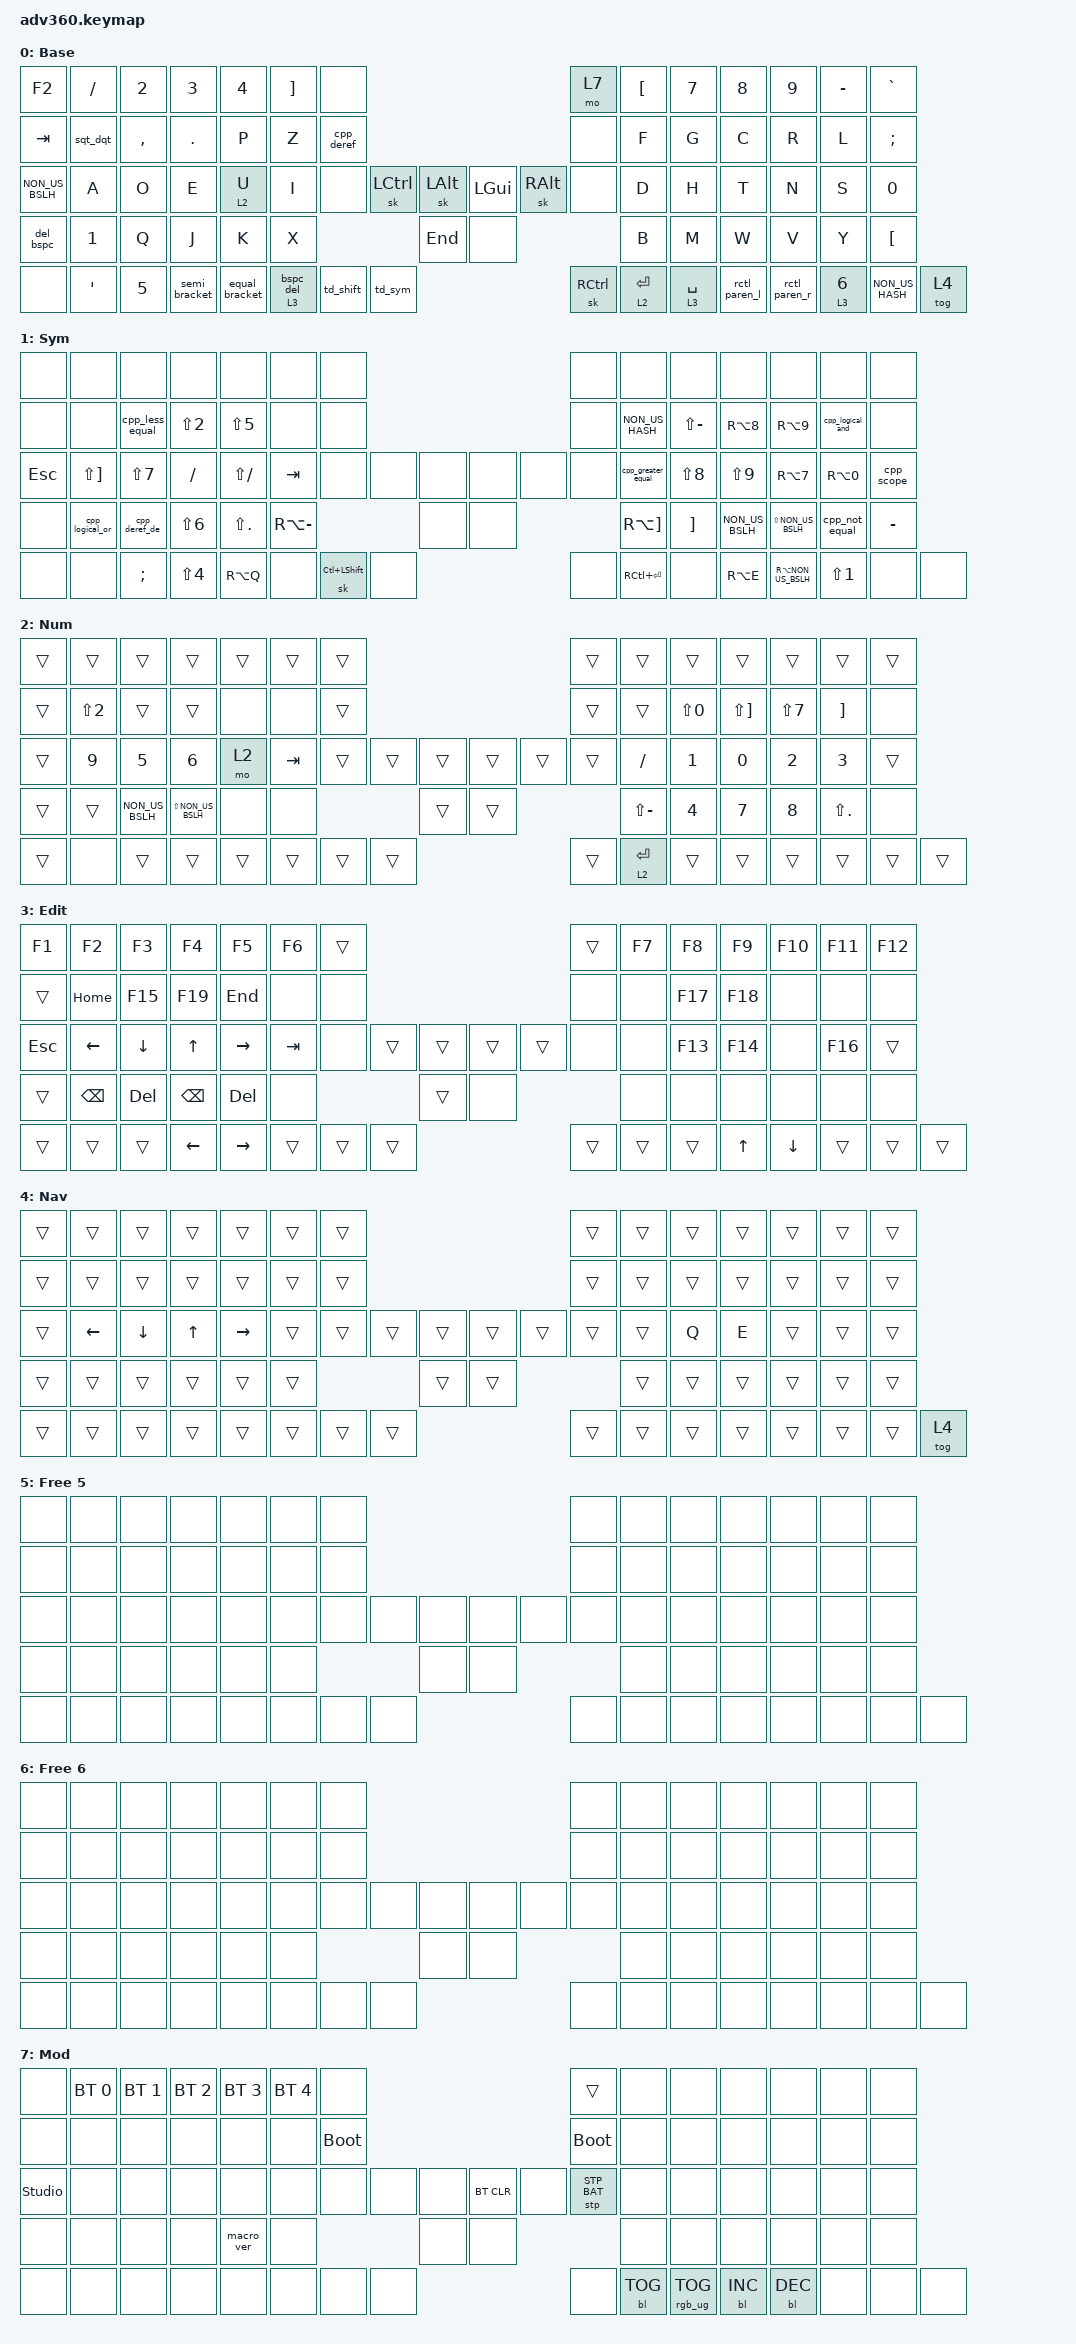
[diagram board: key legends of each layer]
#include <behaviors.dtsi>
#include <dt-bindings/zmk/keys.h>
#include <dt-bindings/zmk/bt.h>
#include <dt-bindings/zmk/rgb.h>
#include <dt-bindings/zmk/stp.h>
#include <dt-bindings/zmk/backlight.h>
#include <dt-bindings/zmk/pointing.h>

/* =============================================================================
   COMPLETE GERMAN WINDOWS TRANSLATION ALIASES
   Erase "#include <locale/keys_de.h>" and use these exact labels anywhere!
   ============================================================================= */
#define DE_A            A
#define DE_B            B
#define DE_C            C
#define DE_D            D
#define DE_E            E
#define DE_F            F
#define DE_G            G
#define DE_H            H
#define DE_I            I
#define DE_J            J
#define DE_K            K
#define DE_L            L
#define DE_M            M
#define DE_N            N
#define DE_O            O
#define DE_P            P
#define DE_Q            Q
#define DE_R            R
#define DE_S            S
#define DE_T            T
#define DE_U            U
#define DE_V            V
#define DE_W            W
#define DE_X            X
#define DE_Y            Z              /* Correctly swaps Y and Z physical positions */
#define DE_Z            Y              /* Correctly swaps Z and Y physical positions */

#define DE_1            N1
#define DE_2            N2
#define DE_3            N3
#define DE_4            N4
#define DE_5            N5
#define DE_6            N6
#define DE_7            N7
#define DE_8            N8
#define DE_9            N9
#define DE_0            N0

#define DE_A_UMLAUT     SQT            /* ä */
#define DE_O_UMLAUT     SEMI           /* ö */
#define DE_U_UMLAUT     LBKT           /* ü */
#define DE_SHARP_S      MINUS          /* ß */

#define DE_MINUS        SLASH          /* - */
#define DE_PLUS         RBKT           /* + */
#define DE_EQUAL        LS(N0)         /* = */
#define DE_UNDERSCORE   LS(SLASH)      /* _ */

#define DE_LESS_THAN    NON_US_BSLH    /* < */
#define DE_GREATER_THAN LS(NON_US_BSLH) /* > */
#define DE_PIPE         RA(NON_US_BSLH) /* | */

#define DE_EXCLAMATION  LS(N1)         /* ! */
#define DE_DOUBLE_QUOTES LS(N2)        /* " */
#define DE_SECTION      LS(N3)         /* § */
#define DE_DOLLAR       LS(N4)         /* $ */
#define DE_PERCENT      LS(N5)         /* % */
#define DE_AMPERSAND    LS(N6)         /* & */
#define DE_SLASH        LS(N7)         /* / */
#define DE_QUESTION     LS(MINUS)      /* ? */
#define DE_BACKSLASH    RA(MINUS)      /* \ */

#define DE_LEFT_PARENTHESIS  LS(N8)    /* ( */
#define DE_RIGHT_PARENTHESIS LS(N9)    /* ) */
#define DE_LEFT_BRACKET      RA(N8)    /* [ */
#define DE_RIGHT_BRACKET     RA(N9)    /* ] */
#define DE_LEFT_BRACE        RA(N7)    /* { */
#define DE_RIGHT_BRACE       RA(N0)    /* } */

#define DE_PERIOD       DOT            /* . */
#define DE_COMMA        COMMA          /* , */
#define DE_COLON        LS(DOT)        /* : */
#define DE_SEMICOLON    LS(COMMA)      /* ; */
#define DE_HASH         NON_US_HASH    /* # */
#define DE_SINGLE_QUOTE LS(NON_US_HASH) /* ' */
#define DE_ASTERISK     LS(RBKT)       /* * */

#define DE_AT           RA(Q)          /* @ */
#define DE_EURO         RA(E)          /* € */
#define DE_TILDE        RA(RBKT)       /* ~ */
#define DE_GRAVE        LS(EQUAL)      /* ` (Dead Key) */
#define DE_ACUTE        EQUAL          /* ´ (Dead Key) */
#define DE_CARET        GRAVE          /* ^ (Dead Key) */
#define DE_DEGREE       LS(GRAVE)      /* ° */
/* ============================================================================= */


/* 
================================================================================
  MASTER GERMAN ZMK LOCALE REFERENCE CHEAT SHEET
  Requires: #include <locale/keys_de.h> at the top of your keymap file.
================================================================================
  Symbol/Char      | ZMK German Keycode | Description / Shortcut Used
-------------------|--------------------|---------------------------------------
  ALPHABET (QWERTZ)
  A to Y (except Z)| &kp DE_A ... DE_Y  | Follows standard physical keys
  Z (Swapped)      | &kp DE_Z           | Maps to physical Y position
  Y (Swapped)      | &kp DE_Y           | Maps to physical Z position
  
  GERMAN SPECIALS
  ä (Umlaut)       | &kp DE_A_UMLAUT    | Base key
  ö (Umlaut)       | &kp DE_O_UMLAUT    | Base key
  ü (Umlaut)       | &kp DE_U_UMLAUT    | Base key
  ß (Eszett)       | &kp DE_SHARP_S     | Base key
  § (Section)      | &kp DE_SECTION     | Shift + 3
  ° (Degree)       | &kp DE_DEGREE      | Shift + ^

  STANDARD PUNCTUATION & SYMBOLS
  . (Period)       | &kp DE_PERIOD      | Base key
  , (Comma)        | &kp DE_COMMA       | Base key
  - (Minus / Dash) | &kp DE_MINUS       | Base key
  _ (Underscore)   | &kp DE_UNDERSCORE  | Shift + Minus
  + (Plus)         | &kp DE_PLUS        | Base key
  # (Hash)         | &kp DE_HASH        | Base key
  ' (Single Quote) | &kp DE_SINGLE_QUOTE| Shift + #
  * (Asterisk)     | &kp DE_ASTERISK    | Shift + +
  ~ (Tilde)        | &kp DE_TILDE       | AltGr + +
  ^ (Caret)        | &kp DE_CARET       | Base key (Dead key on OS)

  PROGRAMMING OPERATORS
  = (Equals)       | &kp DE_EQUAL       | Shift + 0
  ! (Exclamation)  | &kp DE_EXCLAMATION | Shift + 1
  ? (Question Mark)| &kp DE_QUESTION    | Shift + ß
  / (Forward Slash)| &kp DE_SLASH       | Shift + 7
  \ (Backslash)    | &kp DE_BACKSLASH   | AltGr + ß

  | (Pipe)         | &kp DE_PIPE        | AltGr + <
  : (Colon)        | &kp DE_COLON       | Shift + Period
  ; (Semicolon)    | &kp DE_SEMICOLON   | Shift + Comma

  BRACKETS & ENCLOSURES
  ( (Left Paren)   | &kp DE_LEFT_PARENTHESIS | Shift + 8
  ) (Right Paren)  | &kp DE_RIGHT_PARENTHESIS| Shift + 9
  [ (Left Bracket) | &kp DE_LEFT_BRACKET     | AltGr + 8
  ] (Right Bracket)| &kp DE_RIGHT_BRACKET    | AltGr + 9
  { (Left Brace)   | &kp DE_LEFT_BRACE       | AltGr + 7
  } (Right Brace)  | &kp DE_RIGHT_BRACE      | AltGr + 0
  < (Less Than)    | &kp DE_LESS_THAN        | Base key
  > (Greater Than) | &kp DE_GREATER_THAN     | Shift + <

  COMMON INTERNET & CURRENCY SYMBOLS
  @ (At Sign)      | &kp DE_AT          | AltGr + Q
  € (Euro)         | &kp DE_EURO        | AltGr + E
  $ (Dollar)       | &kp DE_DOLLAR      | Shift + 4
  % (Percent)      | &kp DE_PERCENT     | Shift + 5
  & (Ampersand)    | &kp DE_AMPERSAND   | Shift + 6
  " (Double Quote) | &kp DE_DOUBLE_QUOTES| Shift + 2
  ` (Backtick)     | &kp DE_GRAVE       | Shift + ´ (Dead key on OS)
  ´ (Acute Accent) | &kp DE_ACUTE       | Base key (Dead key on OS)
================================================================================
*/

/* 
================================================================================
  ZMK SYSTEM, CORE BEHAVIORS, & CONTROLS REFERENCE CHEAT SHEET
  This table lists standard ZMK actions, layers, media, and hardware keys.
================================================================================
  ZMK Identifier        | Description / Action
------------------------|-------------------------------------------------------
  CORE CORE ACTIONS
  &none                 | Null key. Disables the key completely (does nothing).
  &trans                | Transparent. Falls through to the layer below.

  HARDWARE & SYSTEM CONTROLS
  &bootloader           | Puts module into USB mass storage flash mode.
  &sys_reset            | Reboots the microcontroller immediately.
  &macro_ver            | Outputs the current firmware version string.

  BLUETOOTH CONTROLS
  &bt BT_CLR            | Clears the Bluetooth pairing bond on the active profile.
  &bt BT_CLR_ALL        | Clears ALL Bluetooth profiles saved on the keyboard.
  &bt BT_SEL 0          | Selects Bluetooth Profile 0.
  &bt BT_SEL 1          | Selects Bluetooth Profile 1.
  &bt BT_SEL 2          | Selects Bluetooth Profile 2.
  &bt BT_SEL 3          | Selects Bluetooth Profile 3.
  &bt BT_SEL 4          | Selects Bluetooth Profile 4.
  &bt BT_PRV            | Switches to the previous Bluetooth profile slot.
  &bt BT_NXT            | Switches to the next Bluetooth profile slot.

  LAYER NAVIGATION CONTROLS
  &mo 1                 | Momentary Layer: Activates Layer 1 only while held.
  &to 1                 | Toggle Layer: Permanently switches to Layer 1.
  &sl 1                 | Sticky Layer: Activates Layer 1 for the next single keypress.
  &tg 1                 | Toggle Layer Switch: Press to turn on, press to turn off.

  FUNCTION KEYS
  &kp F1 ... &kp F12    | Standard Function Keys F1 through F12.
  &kp F13 ... &kp F24   | Extended Function Keys F13 through F24.

  NUMPAD & TOP ROW NUMBERS
  &kp N1 ... &kp N0     | Numeric keys 1 through 0 on the top number row.
  &kp KP_N1 ... &kp KP_N0| Numpad Number keys 1 through 0.
  &kp KP_MULTIPLY       | Numpad Asterisk (*)
  &kp KP_PLUS           | Numpad Plus (+)
  &kp KP_MINUS          | Numpad Minus (-)
  &kp KP_DOT            | Numpad Decimal Dot (.)
  &kp KP_ENTER          | Numpad Enter key.

  NAVIGATION & CURSOR CONTROLS
  &kp UP                | Arrow Key Up
  &kp DOWN              | Arrow Key Down
  &kp LEFT              | Arrow Key Left
  &kp RIGHT             | Arrow Key Right
  &kp HOME              | Home Key (Jump to beginning of line)
  &kp END               | End Key (Jump to end of line)
  &kp PG_UP             | Page Up
  &kp PG_DN             | Page Down
  &kp INS               | Insert Key
  &kp DEL               | Delete Forward Key

  EDITING & MODIFIERS
  &kp BSPC              | Backspace (Delete backward)
  &kp SPACE             | Spacebar
  &kp RET               | Return / Enter Key
  &kp TAB               | Tabulator Key
  &kp ESC               | Escape Key
  &kp LSHIFT / &kp RSHIFT| Left Shift / Right Shift
  &kp LCTRL  / &kp RCTRL | Left Control / Right Control
  &kp LALT   / &kp RALT  | Left Alt / Right Alt (German: Alt)
  &kp RGUI   / &kp LGUI  | Right Windows-Key / Left Windows-Key (Command on Mac)
  &kp CAPS              | Caps Lock

  MEDIA & AUDIO CONTROLS
  &kp C_MUTE            | Mute Audio Output
  &kp C_VOL_UP          | Increase Audio Volume
  &kp C_VOL_DN          | Decrease Audio Volume
  &kp C_PP              | Media Play / Pause
  &kp C_NEXT            | Media Next Track
  &kp C_PREV            | Media Previous Track
  &kp C_STOP            | Media Stop Playback
================================================================================
  &cpp_deref            | for macro cpp_deref

*/

/*
===============================================================================
 ZMK BEHAVIOR REFERENCE
===============================================================================

 A binding consists of a behavior and its arguments:
   &kp SPACE  = normal key press, using the Space keycode
   &sk LSHIFT = sticky key, using the Left Shift keycode

 KEY BEHAVIORS
-------------------------------------------------------------------------------
 Example                 | Meaning
-------------------------|-----------------------------------------------------
 &kp SPACE               | Key press: normal Space key.
 &sk LSHIFT              | Sticky key: tap Shift, then type the next key.
 &kt LSHIFT              | Key toggle: tap to hold Shift; tap again to release.
 &mt LCTRL ESC           | Mod-tap: hold for Ctrl; tap for Escape.
 &trans                  | Use the next active layer underneath.
 &none                   | No action; also blocks the layers underneath.
 &caps_word              | Capitalize a word; Space ends capitalization.
 &key_repeat             | Repeat the last keycode sent.

 LAYER BEHAVIORS
-------------------------------------------------------------------------------
 Example                 | Meaning
-------------------------|-----------------------------------------------------
 &mo 4                   | Momentary: activate layer 4 while held.
 &sl 4                   | Sticky: tap, then use one key from layer 4.
 &tog 4                  | Toggle: turn layer 4 on or off.
 &to 4                   | Activate layer 4; disable other layers except Base.
 &to 0                   | Return to Base; disable the other layers.
 &lt 4 SPACE             | Layer-tap: hold for layer 4; tap for Space.

 KEYBOARD CONTROLS
-------------------------------------------------------------------------------
 Example                 | Meaning
-------------------------|-----------------------------------------------------
 &bt BT_SEL 0            | Select Bluetooth profile 0.
 &bl BL_TOG              | Toggle the keyboard backlight.
 &studio_unlock          | Unlock editing through Studio/Clique.
 &sys_reset              | Restart the keyboard firmware.
 &bootloader             | Enter firmware-flashing mode.

 CUSTOM BEHAVIORS IN THIS KEYMAP
-------------------------------------------------------------------------------
 Example                 | Meaning
-------------------------|-----------------------------------------------------
 &cpp_deref_de           | Run the custom macro that types ->.
 &hl 2 DE_U              | Tap: u. Hold: Num layer (2) for as long as U is held.
 &hl 2 ENTER             | Tap: Enter. Hold: Num layer (2), same as holding U.
 &he 3 DE_6              | Tap: 6. Hold: Edit layer (3), like U for Num.
 &hs 3 SPACE             | Tap: space. Hold 200 ms: Edit layer (3). Tap+hold: repeat.
 &cpp_scope              | Types :: (Sym + Base 0 key).
 &cpp_not_equal          | Types != (Sym + Base Z).
 &cpp_logical_and        | Types && (Sym + Base L).
 &cpp_logical_or         | Types || (Sym + Base 1).
 &cpp_less_equal         | Types <= (Sym + Base ,).
 &cpp_greater_equal      | Types >= (Sym + Base D).
 &sqt_dqt                | Types '; with Shift it types ".
 &td_shift               | Tap: sticky Shift. Double-tap: Caps Word.
 &td_sym                 | Symbol key: tap = Sym (sticky), hold = Sym, double-tap = *.
 &hb 3 0 (Backspace)     | Tap: Backspace (Shift: Delete). Hold 200 ms: Edit layer.
                         | Tap then hold: repeat Backspace.
 &del_bspc (Del key)     | Delete; Shift + Del key = Backspace.
 &semi_bracket &equal_bracket | Old arrow keys: ; = (with Shift [ ]).
 &rctl_paren_l/_r        | Old arrow keys: ( ) (with Shift { }, with right Ctrl [ ]).
 &sk LCTRL/LALT/RALT/RCTRL | Sticky Ctrl, Alt, AltGr: tap = for the next key, hold = normal.

 <  is on the Esc position (Shift: >). Esc = symbol key (Sym), then that key.

 NOTES
-------------------------------------------------------------------------------
 - Layer numbers start at 0. In this keymap:
   0 = Base, 1 = Sym (symbol key), 2 = Num (hold U or Enter),
   3 = Edit (hold 6, Space or Backspace), 4 = Nav (toggle: right outer
   arrow-row key), 5-6 = free,
   7 = Mod (hold the Mod key; highest layer, so it always wins).

 - Sticky keys (&sk) and sticky layers (&sl) have a default waiting
   timeout of 1 second. This can be configured.

 - Mod-tap argument order:   &mt HOLD_KEY TAP_KEY
 - Layer-tap argument order: &lt HOLD_LAYER TAP_KEY

 - If using &tog 4, keep the toggle accessible on that layer too:
   use &tog 4 at the same position, or &trans to inherit it.

 - If using &to 4, provide an accessible &to 0 binding to return.

 - Custom behaviors such as &cpp_deref_de must be defined in your
   keymap or an included file before you can use them.
===============================================================================
*/

/ {
    macros {
        cpp_deref: cpp_deref {
            compatible = "zmk,behavior-macro";
            #binding-cells = <0>;
            wait-ms = <10>;
            tap-ms = <10>;
            bindings 
                = <&kp SLASH>              // Correctly prints "-" on German Windows
                , <&kp LS(NON_US_BSLH)>;   // Correctly prints ">" on German Windows
        };
        // Your working C++ Dereferencing Operator (->)
        cpp_deref_de: cpp_deref_de {
            compatible = "zmk,behavior-macro";
            #binding-cells = <0>;
            wait-ms = <10>;
            tap-ms = <10>;
            bindings = <&kp DE_MINUS &kp DE_GREATER_THAN>;
        };

        // Bonus: C++ Scope Resolution Operator (::)
        cpp_scope: cpp_scope_de {
            compatible = "zmk,behavior-macro";
            #binding-cells = <0>;
            wait-ms = <10>;
            tap-ms = <10>;
            bindings = <&kp DE_COLON &kp DE_COLON>;
        };

        // C++ operator: !=. Emits characters only; no cursor movement.
        cpp_not_equal: cpp_not_equal {
            compatible = "zmk,behavior-macro";
            #binding-cells = <0>;
            wait-ms = <10>;
            tap-ms = <10>;
            bindings = <&kp DE_EXCLAMATION &kp DE_EQUAL>;
        };

        // C++ operator: &&. Emits characters only; no cursor movement.
        cpp_logical_and: cpp_logical_and {
            compatible = "zmk,behavior-macro";
            #binding-cells = <0>;
            wait-ms = <10>;
            tap-ms = <10>;
            bindings = <&kp DE_AMPERSAND &kp DE_AMPERSAND>;
        };

        // C++ operator: ||. Emits characters only; no cursor movement.
        cpp_logical_or: cpp_logical_or {
            compatible = "zmk,behavior-macro";
            #binding-cells = <0>;
            wait-ms = <10>;
            tap-ms = <10>;
            bindings = <&kp DE_PIPE &kp DE_PIPE>;
        };

        // C++ operator: <=. Emits characters only; no cursor movement.
        cpp_less_equal: cpp_less_equal {
            compatible = "zmk,behavior-macro";
            #binding-cells = <0>;
            wait-ms = <10>;
            tap-ms = <10>;
            bindings = <&kp DE_LESS_THAN &kp DE_EQUAL>;
        };

        // C++ operator: >=. Emits characters only; no cursor movement.
        cpp_greater_equal: cpp_greater_equal {
            compatible = "zmk,behavior-macro";
            #binding-cells = <0>;
            wait-ms = <10>;
            tap-ms = <10>;
            bindings = <&kp DE_GREATER_THAN &kp DE_EQUAL>;
        };
    };

    behaviors {
      #include "macros.dtsi"
      #include "version.dtsi"


      // Tap U = u, hold U = Num layer (2).
      // Before 280 ms, right-hand finger keys, the left Num digits, < and
      // Shift can trigger a hold. Other first keys favor a tap instead.
      // After the timeout, another key can activate Num regardless of position.
      // U within 150 ms of another non-modifier key always resolves as u.
      hl: hold_layer {
          compatible = "zmk,behavior-hold-tap";
          #binding-cells = <2>;
          flavor = "balanced";
          tapping-term-ms = <280>;
          quick-tap-ms = <175>;
          require-prior-idle-ms = <150>;
          retro-tap;
          hold-trigger-key-positions = <
              7 8 9 10 11 12 13  21 22 23 24 25 26 27  39 40 41 42 43 44 45
              54 55 56 57 58 59  71 72 73 74 75
              15 29 30 31 33 47 48 49 62  66  32 69
          >;
          bindings = <&mo>, <&kp>;
      };


      // ' and, with Shift, " (like on an English keyboard)
      // Tap 6 = 6, hold 6 (right ring, arrow row) = Edit layer (3). Same
      // safety timing as U; the layer only switches on if the next key is
      // on the left half, one of the right Edit keys (G C H T S) or a
      // modifier thumb key.
      he: hold_edit {
          compatible = "zmk,behavior-hold-tap";
          #binding-cells = <2>;
          flavor = "balanced";
          tapping-term-ms = <280>;
          quick-tap-ms = <175>;
          require-prior-idle-ms = <150>;
          retro-tap;
          hold-trigger-key-positions = <
              14 15 16 17 18 19  28 29 30 31 32 33  46 47 48 49 50 51  63 64
              23 24 41 42 44 71 72  35 36 65 66 67
          >;
          bindings = <&mo>, <&kp>;
      };

      // Backspace; with Shift it is Delete (forward delete). Shift itself is
      // not sent with Delete, so it never becomes Shift+Delete (cut).
      bspc_del: backspace_delete {
          compatible = "zmk,behavior-mod-morph";
          #binding-cells = <0>;
          bindings = <&kp BSPC>, <&kp DEL>;
          mods = <(MOD_LSFT|MOD_RSFT)>;
      };

      // ; and, with Shift, [ (old arrow-key position)
      semi_bracket: semi_bracket {
          compatible = "zmk,behavior-mod-morph";
          #binding-cells = <0>;
          bindings = <&kp DE_SEMICOLON>, <&kp DE_LEFT_BRACKET>;
          mods = <(MOD_LSFT|MOD_RSFT)>;
      };

      // = and, with Shift, ] (old arrow-key position)
      equal_bracket: equal_bracket {
          compatible = "zmk,behavior-mod-morph";
          #binding-cells = <0>;
          bindings = <&kp DE_EQUAL>, <&kp DE_RIGHT_BRACKET>;
          mods = <(MOD_LSFT|MOD_RSFT)>;
      };

      // ( and, with Shift, { (old arrow-key position)
      paren_brace_l: paren_brace_l {
          compatible = "zmk,behavior-mod-morph";
          #binding-cells = <0>;
          bindings = <&kp DE_LEFT_PARENTHESIS>, <&kp DE_LEFT_BRACE>;
          mods = <(MOD_LSFT|MOD_RSFT)>;
      };

      // ) and, with Shift, } (old arrow-key position)
      paren_brace_r: paren_brace_r {
          compatible = "zmk,behavior-mod-morph";
          #binding-cells = <0>;
          bindings = <&kp DE_RIGHT_PARENTHESIS>, <&kp DE_RIGHT_BRACE>;
          mods = <(MOD_LSFT|MOD_RSFT)>;
      };

      // Tap Space = space, hold Space (200 ms) = Edit layer (3).
      // Tap-preferred: the layer only comes after holding, so fast rolls
      // like "word next" always type a space. Tap then hold = repeat spaces.
      hs: hold_space_edit {
          compatible = "zmk,behavior-hold-tap";
          #binding-cells = <2>;
          flavor = "tap-preferred";
          tapping-term-ms = <200>;
          quick-tap-ms = <175>;
          bindings = <&mo>, <&kp>;
      };

      // Delete; with Shift it is Backspace (Shift is not passed on).
      del_bspc: delete_backspace {
          compatible = "zmk,behavior-mod-morph";
          #binding-cells = <0>;
          bindings = <&kp DEL>, <&kp BSPC>;
          mods = <(MOD_LSFT|MOD_RSFT)>;
      };

      // Backspace thumb: tap = Backspace (Shift: Delete), hold 200 ms = Edit
      // layer (3) for left-hand-only arrows. Tap then hold = repeat Backspace.
      hb: hold_backspace_edit {
          compatible = "zmk,behavior-hold-tap";
          #binding-cells = <2>;
          flavor = "tap-preferred";
          tapping-term-ms = <200>;
          quick-tap-ms = <175>;
          bindings = <&mo>, <&bspc_del>;
      };

      // Right Ctrl + this key = [ (Ctrl is not sent with it); otherwise
      // the ( / ) key with Shift for { / }.
      rctl_paren_l: rctl_paren_l {
          compatible = "zmk,behavior-mod-morph";
          #binding-cells = <0>;
          bindings = <&paren_brace_l>, <&kp DE_LEFT_BRACKET>;
          mods = <(MOD_RCTL)>;
      };

      // Right Ctrl + this key = ] (Ctrl is not sent with it); otherwise
      // the ( / ) key with Shift for { / }.
      rctl_paren_r: rctl_paren_r {
          compatible = "zmk,behavior-mod-morph";
          #binding-cells = <0>;
          bindings = <&paren_brace_r>, <&kp DE_RIGHT_BRACKET>;
          mods = <(MOD_RCTL)>;
      };

      // Symbol key: tap = Sym layer for the next key (sticky), hold = Sym
      // while held, quick double tap = *.
      td_sym: tap_dance_symbol {
          compatible = "zmk,behavior-tap-dance";
          #binding-cells = <0>;
          tapping-term-ms = <200>;
          bindings = <&sl 1>, <&kp DE_ASTERISK>;
      };

      // Enter inside the Num layer: tap = Enter, hold = keep Num on. Lets you
      // switch from holding U to holding Enter (and back) without leaving Num.
      nl: num_layer_keep {
          compatible = "zmk,behavior-hold-tap";
          #binding-cells = <2>;
          flavor = "balanced";
          tapping-term-ms = <200>;
          quick-tap-ms = <175>;
          bindings = <&mo>, <&kp>;
      };

      // Tap Shift = sticky Shift, double-tap Shift = Caps Word (MAX_SIZE).
      td_shift: tap_dance_shift {
          compatible = "zmk,behavior-tap-dance";
          #binding-cells = <0>;
          tapping-term-ms = <200>;
          bindings = <&sk LSHIFT>, <&caps_word>;
      };

      sqt_dqt: single_double_quote {
          compatible = "zmk,behavior-mod-morph";
          #binding-cells = <0>;
          bindings = <&kp DE_SINGLE_QUOTE>, <&kp DE_DOUBLE_QUOTES>;
          mods = <(MOD_LSFT|MOD_RSFT)>;
      };
    };

  keymap {
    compatible = "zmk,keymap";

    default_layer {
      display-name = "Base";
      bindings = <
        &kp F2           &kp DE_MINUS     &kp DE_2         &kp DE_3         &kp DE_4         &kp DE_PLUS      &none                                                                                            &mo 7            &kp DE_U_UMLAUT  &kp DE_7         &kp DE_8         &kp DE_9         &kp DE_SHARP_S   &kp DE_CARET
        &kp TAB          &sqt_dqt         &kp DE_COMMA     &kp DE_PERIOD    &kp DE_P         &kp DE_Y         &cpp_deref                                                                                       &none            &kp DE_F         &kp DE_G         &kp DE_C         &kp DE_R         &kp DE_L         &kp DE_O_UMLAUT
        &kp DE_LESS_THAN &kp DE_A         &kp DE_O         &kp DE_E         &hl 2 DE_U       &kp DE_I         &none                  &sk LCTRL        &sk LALT         &kp LGUI            &sk RALT            &none            &kp DE_D         &kp DE_H         &kp DE_T         &kp DE_N         &kp DE_S         &kp DE_0
        &del_bspc        &kp DE_1         &kp DE_Q         &kp DE_J         &kp DE_K         &kp DE_X                                                 &kp END          &none                                                    &kp DE_B         &kp DE_M         &kp DE_W         &kp DE_V         &kp DE_Z         &kp DE_U_UMLAUT
        &none            &kp DE_A_UMLAUT  &kp DE_5         &semi_bracket      &equal_bracket                                 &hb 3 0          &td_shift        &td_sym          &sk RCTRL           &hl 2 ENTER     &hs 3 SPACE                             &rctl_paren_l    &rctl_paren_r          &he 3 DE_6       &kp DE_HASH      &tog 4
      >;
    };

    /* Sym (symbol key, then a key). Placed by symbol frequency in C++ and
     * English; ( ) { } [ ] on the right hand, pairs side by side.
     *
     *          out pnk rng mid idx in            in  idx mid rng pnk out
     *   top            <=   "   %                 #   ?   [   ]  &&
     *   home   Esc  *   /   -   _  Tab           >=   (   )   {   }  ::
     *   bottom     ||  ->   &   :   \             ~   +   <   >  !=   ß
     *   arrow           ö   $   @                     €   |   !
     *
     *   Shift thumb = sticky Ctrl+Shift, Enter thumb = Ctrl+Enter.
     */
    symbols {
      display-name = "Sym";
      bindings = <
        &none                    &none                    &none                    &none                    &none                    &none                    &none  &none                    &none                    &none                    &none                    &none                    &none                    &none
        &none                    &none                    &cpp_less_equal          &kp DE_DOUBLE_QUOTES     &kp DE_PERCENT           &none                    &none  &none                    &kp DE_HASH              &kp DE_QUESTION          &kp DE_LEFT_BRACKET      &kp DE_RIGHT_BRACKET     &cpp_logical_and         &none
        &kp ESC                  &kp DE_ASTERISK          &kp DE_SLASH             &kp DE_MINUS             &kp DE_UNDERSCORE        &kp TAB                  &none  &none                    &none                    &none                    &none                    &none                    &cpp_greater_equal       &kp DE_LEFT_PARENTHESIS  &kp DE_RIGHT_PARENTHESIS &kp DE_LEFT_BRACE        &kp DE_RIGHT_BRACE       &cpp_scope
        &none                    &cpp_logical_or          &cpp_deref_de            &kp DE_AMPERSAND         &kp DE_COLON             &kp DE_BACKSLASH  &none                    &none                    &kp DE_TILDE             &kp DE_PLUS              &kp DE_LESS_THAN         &kp DE_GREATER_THAN      &cpp_not_equal           &kp DE_SHARP_S
        &none                    &none                    &kp DE_O_UMLAUT          &kp DE_DOLLAR            &kp DE_AT &none                    &sk LC(LSHIFT)           &none                    &none                    &kp RC(ENTER)            &none                    &kp DE_EURO              &kp DE_PIPE              &kp DE_EXCLAMATION       &none                    &none
      >;
    };

    /* Num layer: hold U (left index) or Enter (right thumb); a tap types u / Enter.
     *
     *           out pnk rng mid idx           in  idx mid rng pnk out
     *   top          "   ,   .                 f   =   *   /   +
     *   home         9   5   6  [U] Tab        -   1   0   2   3  (0)
     *   bottom      (1)  <   >                 ?   4   7   8   :
     *   arrow           (5)                               (6)
     *
     *   Direct operators: Base G =, C *, R /, Q <, J >; L +, D -, B ? and Z :; " on the left pinky top key.
     *   Base F stays f for float literals such as 0.5f. Empty letter keys
     *   do nothing. Number row, Tab, Del, ; = ( ), # and thumb controls keep
     *   their usual functions. Holding Enter also opens this layer.
     *   Switch hands freely: while on Num, U and Enter (hold) keep it on,
     *   so you can hold Enter, press U, release Enter (or the reverse).
     *   (x) = same key as on Base. Shift + digit gives its German symbol:
     *   Shift+0 =   Shift+1 !   Shift+5 %   Shift+7 /   Shift+8 (   Shift+9 )
     */
    extra2 {
      display-name = "Num";
      bindings = <
        &trans           &trans           &trans           &trans           &trans           &trans           &trans                                                                                           &trans           &trans           &trans           &trans           &trans           &trans           &trans
        &trans           &kp DE_DOUBLE_QUOTES &trans           &trans           &none            &none            &trans                                                                                           &trans           &trans           &kp DE_EQUAL     &kp DE_ASTERISK  &kp DE_SLASH     &kp DE_PLUS      &none
        &trans           &kp DE_9         &kp DE_5         &kp DE_6         &mo 2            &kp TAB          &trans                 &trans           &trans           &trans           &trans                 &trans           &kp DE_MINUS     &kp DE_1         &kp DE_0         &kp DE_2         &kp DE_3         &trans
        &trans           &trans           &kp DE_LESS_THAN &kp DE_GREATER_THAN &none            &none                                                    &trans           &trans                                                   &kp DE_QUESTION  &kp DE_4         &kp DE_7         &kp DE_8         &kp DE_COLON     &none
        &trans           &none            &trans           &trans           &trans                                  &trans           &trans           &trans           &trans           &nl 2 ENTER      &trans                                  &trans           &trans           &trans           &trans           &trans
      >;
    };

    /* Edit: hold the 6 key (right ring finger, arrow row), or Space or
     * Backspace for 200 ms (Backspace = arrows with the left hand only).
     * Left home row: A Left, O Down, E Up, U Right. Shift/Ctrl still work.
     * Number row: F1-F12.
     * Left top row: pinky Home, index End.
     * Left index: I Tab (Shift+I = Shift+Tab), K Delete.
     * Left bottom row: pinky Backspace, ring Delete, middle Backspace.
     * Old arrow keys (left, bottom row): Left and Right as before.
     * Right arrow row: index Up, middle Down.
     * Right home: H definition, T back, S toggle line comment.
     * Right upper: G references, C quick fix.
     * Left upper (ring finger holds 6): , rename, . next problem.
     * F13-F19 are mapped in VS Code; see config/vscode-keybindings.json.
     * Esc is at the original Esc position. Unused letter keys do nothing.
     * Release the key to return.
     */
    extra3 { 
      display-name = "Edit";
      bindings = <
        &kp F1           &kp F2           &kp F3           &kp F4           &kp F5           &kp F6           &trans                                                                                                       &trans           &kp F7           &kp F8           &kp F9           &kp F10          &kp F11          &kp F12
        &trans           &kp HOME         &kp F15          &kp F19          &kp END          &none            &none                                                                                            &none            &none            &kp F17          &kp F18          &none            &none            &none
        &kp ESC          &kp LEFT         &kp DOWN         &kp UP           &kp RIGHT        &kp TAB          &none                  &trans           &trans           &trans           &trans                 &none            &none            &kp F13          &kp F14          &none            &kp F16          &trans
        &trans           &kp BSPC         &kp DEL          &kp BSPC         &kp DEL          &none                                                    &trans           &none                                                    &none            &none            &none            &none            &none            &none
        &trans           &trans           &trans           &kp LEFT         &kp RIGHT                               &trans           &trans           &trans           &trans           &trans           &trans                                  &kp UP           &kp DOWN         &trans           &trans           &trans
      >;
    };

    /* Nav (toggle with the right outer arrow-row key, press again to leave):
     * arrows on the left home row (A Left, O Down, E Up, U Right) and
     * q / e on the right index / middle home keys. Every other key works
     * as on Base.
     */
    nav {
      display-name = "Nav";
      bindings = <
        &trans           &trans           &trans           &trans           &trans           &trans           &trans                                                                                           &trans           &trans           &trans           &trans           &trans           &trans           &trans
        &trans           &trans           &trans           &trans           &trans           &trans           &trans                                                                                           &trans           &trans           &trans           &trans           &trans           &trans           &trans
        &trans           &kp LEFT         &kp DOWN         &kp UP           &kp RIGHT        &trans           &trans                 &trans           &trans           &trans           &trans                 &trans           &trans           &kp DE_Q         &kp DE_E         &trans           &trans           &trans
        &trans           &trans           &trans           &trans           &trans           &trans                                                   &trans           &trans                                                   &trans           &trans           &trans           &trans           &trans           &trans
        &trans           &trans           &trans           &trans           &trans                                  &trans           &trans           &trans           &trans           &trans           &trans                                  &trans           &trans           &trans           &trans           &tog 4
      >;
    };

    free5 {
      display-name = "Free 5";
      bindings = <
        &none            &none            &none            &none            &none            &none            &none                                                                                            &none            &none            &none            &none            &none            &none            &none
        &none            &none            &none            &none            &none            &none            &none                                                                                            &none            &none            &none            &none            &none            &none            &none
        &none            &none            &none            &none            &none            &none            &none                  &none            &none            &none            &none                  &none            &none            &none            &none            &none            &none            &none
        &none            &none            &none            &none            &none            &none                                                    &none            &none                                                    &none            &none            &none            &none            &none            &none
        &none            &none            &none            &none            &none                                   &none            &none            &none            &none            &none            &none                                   &none            &none            &none            &none            &none
      >;
    };

    free6 {
      display-name = "Free 6";
      bindings = <
        &none            &none            &none            &none            &none            &none            &none                                                                                            &none            &none            &none            &none            &none            &none            &none
        &none            &none            &none            &none            &none            &none            &none                                                                                            &none            &none            &none            &none            &none            &none            &none
        &none            &none            &none            &none            &none            &none            &none                  &none            &none            &none            &none                  &none            &none            &none            &none            &none            &none            &none
        &none            &none            &none            &none            &none            &none                                                    &none            &none                                                    &none            &none            &none            &none            &none            &none
        &none            &none            &none            &none            &none                                   &none            &none            &none            &none            &none            &none                                   &none            &none            &none            &none            &none
      >;
    };

    mod {
      display-name = "Mod";
      bindings = <
        &none            &bt BT_SEL 0     &bt BT_SEL 1     &bt BT_SEL 2     &bt BT_SEL 3     &bt BT_SEL 4     &none                                                                                            &trans           &none            &none            &none            &none            &none            &none
        &none            &none            &none            &none            &none            &none            &bootloader                                                                                      &bootloader      &none            &none            &none            &none            &none            &none
        &studio_unlock   &none            &none            &none            &none            &none            &none                  &none            &none            &bt BT_CLR       &none                  &stp STP_BAT     &none            &none            &none            &none            &none            &none
        &none            &none            &none            &none            &macro_ver       &none                                                    &none            &none                                                    &none            &none            &none            &none            &none            &none
        &none            &none            &none            &none            &none                                   &none            &none            &none            &none            &bl BL_TOG       &rgb_ug RGB_TOG                         &bl BL_INC       &bl BL_DEC       &none            &none            &none
      >;
    };
  };
};

// Caps Word (double-tap Shift) keeps going through _ (German _ is Shift
// plus the - key), Backspace and Delete; Space, Enter, . and , end it.
&caps_word {
    continue-list = <DE_UNDERSCORE BSPC DEL>;
};
